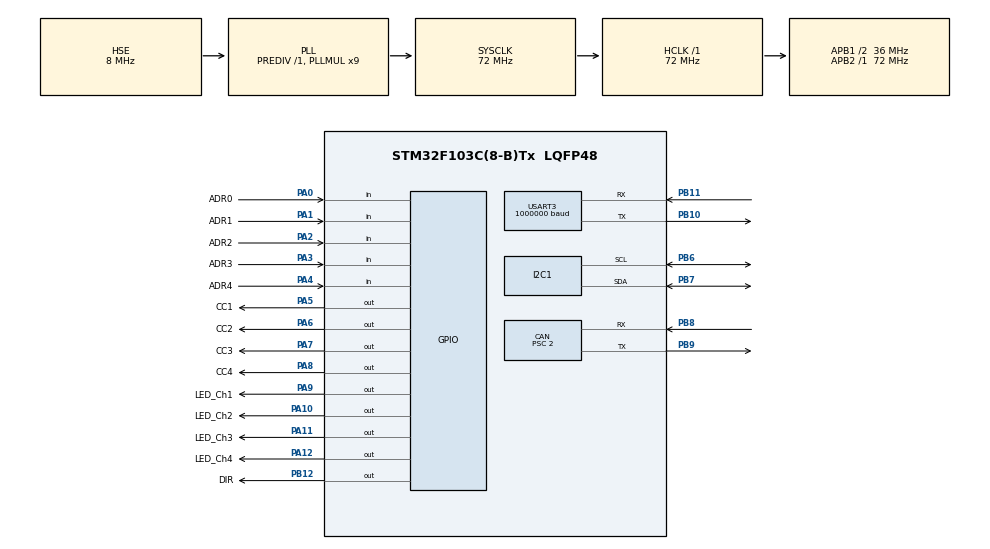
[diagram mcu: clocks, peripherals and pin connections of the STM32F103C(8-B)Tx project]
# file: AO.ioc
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CAN.BS1=CAN_BS1_15TQ
CAN.BS2=CAN_BS2_2TQ
CAN.CalculateBaudRate=1000000
CAN.CalculateTimeBit=1000
CAN.CalculateTimeQuantum=55.55555555555556
CAN.Prescaler=2
Mcu.Family=STM32F1
Mcu.Name=STM32F103C(8-B)Tx
Mcu.Package=LQFP48
NVIC.PriorityGroup=NVIC_PRIORITYGROUP_4
NVIC.USART3_IRQn=true\:0\:0\:false\:false\:true\:true\:true\:true
NVIC.USB_LP_CAN1_RX0_IRQn=true\:0\:0\:false\:false\:true\:true\:true\:true
PA0-WKUP.GPIO_Label=ADR0
PA0-WKUP.Signal=GPIO_Input
PA1.GPIO_Label=ADR1
PA1.Signal=GPIO_Input
PA10.GPIO_Label=LED_Ch2
PA10.Signal=GPIO_Output
PA11.GPIO_Label=LED_Ch3
PA11.Signal=GPIO_Output
PA12.GPIO_Label=LED_Ch4
PA12.Signal=GPIO_Output
PA13.Mode=Serial_Wire
PA13.Signal=SYS_JTMS-SWDIO
PA14.Mode=Serial_Wire
PA14.Signal=SYS_JTCK-SWCLK
PA2.GPIO_Label=ADR2
PA2.Signal=GPIO_Input
PA3.GPIO_Label=ADR3
PA3.Signal=GPIO_Input
PA4.GPIO_Label=ADR4
PA4.Signal=GPIO_Input
PA5.GPIO_Label=CC1
PA5.Signal=GPIO_Output
PA6.GPIO_Label=CC2
PA6.Signal=GPIO_Output
PA7.GPIO_Label=CC3
PA7.Signal=GPIO_Output
PA8.GPIO_Label=CC4
PA8.Signal=GPIO_Output
PA9.GPIO_Label=LED_Ch1
PA9.Signal=GPIO_Output
PB10.Mode=Asynchronous
PB10.Signal=USART3_TX
PB11.Mode=Asynchronous
PB11.Signal=USART3_RX
PB12.GPIO_Label=DIR
PB12.Signal=GPIO_Output
PB6.Mode=I2C
PB6.Signal=I2C1_SCL
PB7.Mode=I2C
PB7.Signal=I2C1_SDA
PB8.Mode=CAN_Activate
PB8.Signal=CAN_RX
PB9.Mode=CAN_Activate
PB9.Signal=CAN_TX
PD0-OSC_IN.Mode=HSE-External-Oscillator
PD0-OSC_IN.Signal=RCC_OSC_IN
PD1-OSC_OUT.Mode=HSE-External-Oscillator
PD1-OSC_OUT.Signal=RCC_OSC_OUT
ProjectManager.HeapSize=0x200
ProjectManager.StackSize=0x400
ProjectManager.TargetToolchain=Other Toolchains (GPDSC)
RCC.AHBFreq_Value=72000000
RCC.APB1CLKDivider=RCC_HCLK_DIV2
RCC.APB1Freq_Value=36000000
RCC.APB1TimFreq_Value=72000000
RCC.APB2Freq_Value=72000000
RCC.APB2TimFreq_Value=72000000
RCC.HCLKFreq_Value=72000000
RCC.PLLMUL=RCC_PLL_MUL9
RCC.PLLSourceVirtual=RCC_PLLSOURCE_HSE
RCC.SYSCLKFreq_VALUE=72000000
RCC.SYSCLKSource=RCC_SYSCLKSOURCE_PLLCLK
RCC.USBFreq_Value=72000000
TIM1.Period=65534
TIM1.Prescaler=72-1
USART3.BaudRate=1000000
USART3.VirtualMode=VM_ASYNC
USART3.WordLength=WORDLENGTH_8B
VP_CRC_VS_CRC.Mode=CRC_Activate
VP_TIM1_VS_ClockSourceINT.Mode=Internal
board=custom

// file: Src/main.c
/* USER CODE BEGIN Header */
/**
  ******************************************************************************
  * @file           : main.c
  * @brief          : Main program body
  ******************************************************************************
  * @attention
  *
  * Copyright (c) 2022 STMicroelectronics.
  * All rights reserved.
  *
  * This software is licensed under terms that can be found in the LICENSE file
  * in the root directory of this software component.
  * If no LICENSE file comes with this software, it is provided AS-IS.
  *
  ******************************************************************************
  */
/* USER CODE END Header */
#include "main.h"
#include "can.h"
#include "crc.h"
#include "i2c.h"
#include "tim.h"
#include "usart.h"
#include "gpio.h"

/* USER CODE BEGIN Includes */
#include "synplc.h"
/* USER CODE END Includes */

void SystemClock_Config(void);
/* USER CODE BEGIN PFP */
void Slave_Init(void);
void write_single(uint8_t channel, uint16_t output_raw);
void write_all(uint16_t *data);
void convert_dacs(uint16_t *data, uint8_t modes);
/* USER CODE END PFP */

/* USER CODE BEGIN 0 */
#define MCP_ADDR 0b11000010

uint8_t address = 0;
uint16_t dac_vals[4];
/* USER CODE END 0 */

int main(void)
{
  /* USER CODE BEGIN 1 */
  //HAL_I2C_Master_Transmit(&hi2c1, MCP_ADDR, );
  /* USER CODE END 1 */

  /* MCU Configuration--------------------------------------------------------*/

  /* Reset of all peripherals, Initializes the Flash interface and the Systick. */
  HAL_Init();

  /* Configure the system clock */
  SystemClock_Config();

  /* Initialize all configured peripherals */
  MX_GPIO_Init();
  MX_CAN_Init();
  MX_CRC_Init();
  MX_USART3_UART_Init();
  MX_I2C1_Init();
  MX_TIM1_Init();
  /* USER CODE BEGIN 2 */
  timer_init();
  Slave_Init();
  init_485(address);

  __enable_irq();
  HAL_UART_Receive_IT(&huart3, RxBuffer, 1);

  /* USER CODE END 2 */

  /* Infinite loop */
  while (1)
  {

    /* USER CODE BEGIN 3 */

    //set DAC values
    convert_dacs(dac_out, dac_stat);
    //update dacs
    write_all(dac_vals);
    //set LEDs
    for(int i = 0; i < 4; i++)
    {
      if(dac_out[i] != 0)
        HAL_GPIO_WritePin(CC1_GPIO_Port, CC1_Pin + i, 1);
      else
        HAL_GPIO_WritePin(CC1_GPIO_Port, CC1_Pin + i, 0);
    }

  }
  /* USER CODE END 3 */
}

void SystemClock_Config(void)
{
  RCC_OscInitTypeDef RCC_OscInitStruct = {0};
  RCC_ClkInitTypeDef RCC_ClkInitStruct = {0};

  /** Initializes the RCC Oscillators according to the specified parameters
  * in the RCC_OscInitTypeDef structure.
  */
  RCC_OscInitStruct.OscillatorType = RCC_OSCILLATORTYPE_HSE;
  RCC_OscInitStruct.HSEState = RCC_HSE_ON;
  RCC_OscInitStruct.HSEPredivValue = RCC_HSE_PREDIV_DIV1;
  RCC_OscInitStruct.HSIState = RCC_HSI_ON;
  RCC_OscInitStruct.PLL.PLLState = RCC_PLL_ON;
  RCC_OscInitStruct.PLL.PLLSource = RCC_PLLSOURCE_HSE;
  RCC_OscInitStruct.PLL.PLLMUL = RCC_PLL_MUL9;
  if (HAL_RCC_OscConfig(&RCC_OscInitStruct) != HAL_OK)
  {
    Error_Handler();
  }

  /** Initializes the CPU, AHB and APB buses clocks
  */
  RCC_ClkInitStruct.ClockType = RCC_CLOCKTYPE_HCLK|RCC_CLOCKTYPE_SYSCLK
                              |RCC_CLOCKTYPE_PCLK1|RCC_CLOCKTYPE_PCLK2;
  RCC_ClkInitStruct.SYSCLKSource = RCC_SYSCLKSOURCE_PLLCLK;
  RCC_ClkInitStruct.AHBCLKDivider = RCC_SYSCLK_DIV1;
  RCC_ClkInitStruct.APB1CLKDivider = RCC_HCLK_DIV2;
  RCC_ClkInitStruct.APB2CLKDivider = RCC_HCLK_DIV1;

  if (HAL_RCC_ClockConfig(&RCC_ClkInitStruct, FLASH_LATENCY_2) != HAL_OK)
  {
    Error_Handler();
  }
}

/* USER CODE BEGIN 4 */

void HAL_UART_RxCpltCallback(UART_HandleTypeDef *huart)
{

  parse_485();

}

void convert_dacs(uint16_t *data, uint8_t modes)
{
  for(int i = 0; i < 4; i++)
  {
    if(modes & (0x01 << i)) // CC mode
      dac_vals[i] = data[i] / 5;
    else
      dac_vals[i] = (uint16_t)((float)data[i] / 2.5);
  }
}

void Slave_Init(void)
{
  address = 0x60 + (GPIOA->IDR & 0x1F);
  GPIOA->ODR &= ~(0x1FE0); // set relais and LEDs to off
  HAL_GPIO_WritePin(DIR_GPIO_Port, DIR_Pin, 0); // set Direction to read
}

void write_single(uint8_t channel, uint16_t output_raw)
{
  HAL_Delay(20);
  uint8_t data[4];
  data[0] = 0x58 | ((channel << 1)&0x06); //single write, update after last acknowledge
  data[1] = 0x90 | ((output_raw >> 8)& 0x0F);
  data[2] = output_raw & 0x00FF;
  HAL_I2C_Master_Transmit(&hi2c1, MCP_ADDR, data, 3, 1);
}

void write_all(uint16_t *data)
{
  //HAL_Delay(25);
  uint8_t send_dat[8];
  send_dat[0] = (data[0] >> 8) & 0x0F;
  send_dat[1] = data[0] & 0x00FF;
  send_dat[2] = (data[1] >> 8) & 0x0F;
  send_dat[3] = data[1] & 0x00FF;
  send_dat[4] = (data[2] >> 8) & 0x0F;
  send_dat[5] = data[2] & 0x00FF;
  send_dat[6] = (data[3] >> 8) & 0x0F;
  send_dat[7] = data[3] & 0x00FF;
  HAL_I2C_Master_Transmit(&hi2c1, MCP_ADDR, send_dat, 8, 1);

}

/* USER CODE END 4 */

void Error_Handler(void)
{
  __disable_irq();
  while (1)
  {
  }
}
